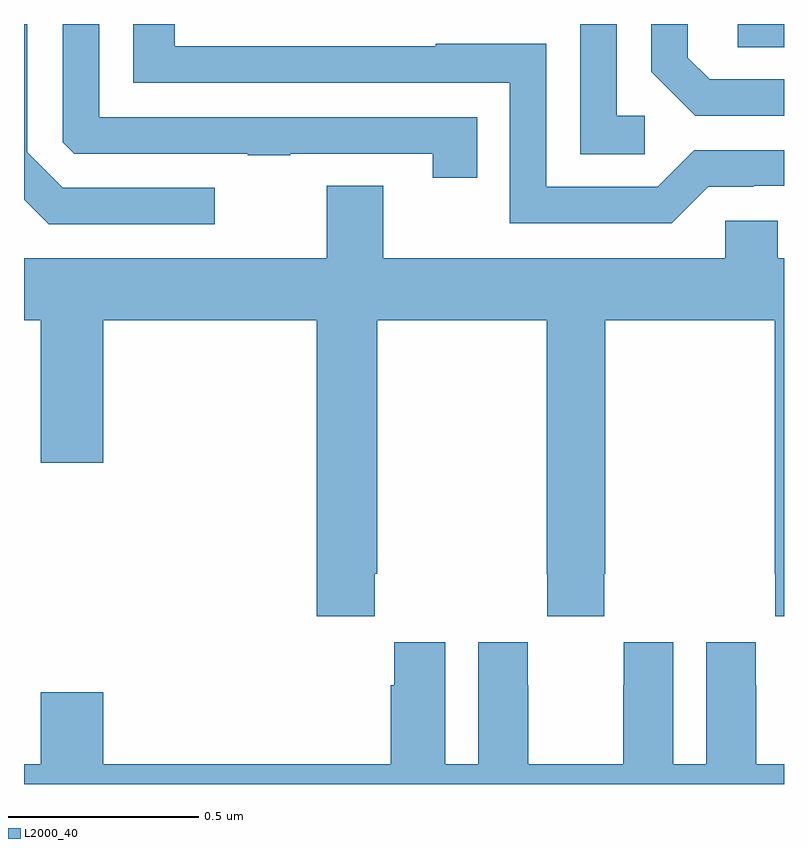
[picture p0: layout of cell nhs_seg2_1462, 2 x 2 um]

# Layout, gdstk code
import gdstk
lib = gdstk.Library(unit=1e-6, precision=1e-09)
def R(c, l, rs):  # rectangles x0, y0, x1, y1
    for r in rs: c.add(gdstk.rectangle(r[:2], r[2:], *l))
def P(c, l, *ps):  # polygons
    for p in ps: c.add(gdstk.Polygon(p, *l))
L2000_40 = (2000, 40)

nhs_seg2_1462 = lib.new_cell('nhs_seg2_1462')
R(nhs_seg2_1462, L2000_40, [(130.878,597.739,131,597.8)])
P(nhs_seg2_1462, L2000_40, [(129.502,597.369),(129.102,597.369),(129.009,597.462),(129.009,597.8),(129,597.8),(129,597.338),(129.065,597.273),(129.502,597.273)],
  [(130.633,597.558),(130.56,597.558),(130.56,597.8),(130.464,597.8),(130.464,597.457),(130.633,597.457)],
  [(130.8,597.372),(130.92,597.372),(130.92,597.375),(131,597.375),(131,597.468),(130.764,597.468),(130.668,597.372),(130.374,597.372),(130.374,597.748),(130.083,597.748),(130.083,597.741),(129.651,597.741),(129.651,597.742),(129.397,597.742),(129.397,597.8),(129.288,597.8),(129.288,597.645),(130.278,597.645),(130.278,597.276),(130.704,597.276)],
  [(131,597.654),(130.804,597.654),(130.747,597.711),(130.747,597.8),(130.65,597.8),(130.65,597.674),(130.766,597.558),(131,597.558)],
  [(130.193,597.555),(129.198,597.555),(129.198,597.8),(129.102,597.8),(129.102,597.489),(129.132,597.459),(129.589,597.459),(129.589,597.454),(129.701,597.454),(129.701,597.459),(130.075,597.459),(130.075,597.396),(130.193,597.396)],
  [(129.923,596.353),(129.93,596.353),(129.93,597.02),(130.375,597.02),(130.375,596.353),(130.377,596.353),(130.377,596.241),(130.527,596.241),(130.527,596.353),(130.53,596.353),(130.53,597.02),(130.975,597.02),(130.975,596.353),(130.977,596.353),(130.977,596.241),(131,596.241),(131,597.184),(130.983,597.184),(130.983,597.282),(130.845,597.282),(130.845,597.184),(129.945,597.184),(129.945,597.374),(129.797,597.374),(129.797,597.184),(129,597.184),(129,597.02),(129.044,597.02),(129.044,596.646),(129.208,596.646),(129.208,597.02),(129.77,597.02),(129.77,596.241),(129.923,596.241)],
  [(131,595.852),(130.927,595.852),(130.927,596.06),(130.926,596.06),(130.926,596.173),(130.796,596.173),(130.796,595.852),(130.708,595.852),(130.708,596.173),(130.578,596.173),(130.578,596.06),(130.577,596.06),(130.577,595.852),(130.327,595.852),(130.327,596.06),(130.326,596.06),(130.326,596.173),(130.196,596.173),(130.196,595.852),(130.108,595.852),(130.108,596.173),(129.974,596.173),(129.974,596.06),(129.965,596.06),(129.965,595.852),(129.208,595.852),(129.208,596.041),(129.044,596.041),(129.044,595.852),(129,595.852),(129,595.8),(131,595.8)])

lib.write_gds('nhs_seg2_1462.gds')
